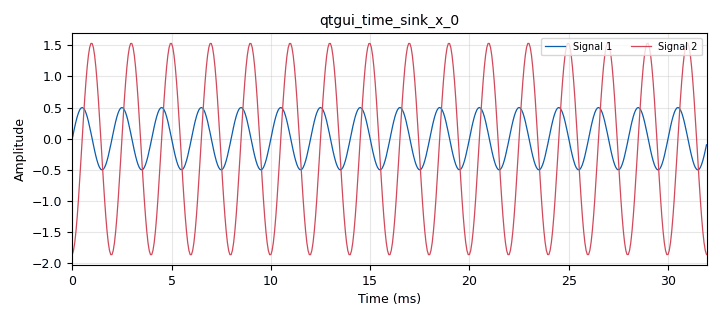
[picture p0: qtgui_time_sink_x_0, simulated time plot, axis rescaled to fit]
options:
  parameters:
    author: com2_B1_G8
    generate_options: qt_gui
    id: aplicacionacumstats
    output_language: python
    title: Not titled yet
  states: {}

blocks:
- name: A
  id: variable_qtgui_range
  parameters:
    label: Amplitud señal
    start: '0'
    step: '1e-2'
    stop: '500e-3'
    value: '500e-3'
  states: {}
- name: 'No'
  id: variable_qtgui_range
  parameters:
    label: Amplitud ruido
    start: '0'
    step: '1e-3'
    stop: '1e-1'
    value: '1e-4'
  states: {}
- name: fm
  id: variable_qtgui_range
  parameters:
    label: Frecuencia señal
    start: '100'
    step: '1'
    stop: 1e3
    value: '1000'
  states: {}
- name: samp_rate
  id: variable
  parameters:
    value: '32000'
  states: {}
- name: analog_const_source_x_0
  id: analog_const_source_x
  parameters:
    const: '1.5'
    type: float
  states: {}
- name: analog_noise_source_x_0
  id: analog_noise_source_x
  parameters:
    amp: 'No'
    noise_type: analog.GR_GAUSSIAN
    seed: '0'
    type: float
  states: {}
- name: analog_sig_source_x_0
  id: analog_sig_source_x
  parameters:
    alias: analog_sig_source_x_0
    amp: A
    freq: fm
    offset: '0'
    phase: '0'
    samp_rate: samp_rate
    type: float
    waveform: analog.GR_SIN_WAVE
  states: {}
- name: blocks_add_xx_0
  id: blocks_add_xx
  parameters:
    type: float
  states: {}
- name: blocks_divide_xx_0
  id: blocks_divide_xx
  parameters:
    type: float
  states: {}
- name: blocks_throttle2_0
  id: blocks_throttle2
  parameters:
    samples_per_second: samp_rate
    type: float
  states: {}
- name: epy_block_1
  id: epy_block
  parameters:
    _source_code: |
      """
      Embedded Python Blocks:

      Each time this file is saved, GRC will instantiate the first class it finds
      to get ports and parameters of your block. The arguments to __init__  will
      be the parameters. All of them are required to have default values!
      """

      import numpy as np
      from gnuradio import gr


      class blk(gr.sync_block):

          def __init__(self):  # only default arguments here
              gr.sync_block.__init__(
                  self,
                  name='e_Acum',   # will show up in GRC
                  in_sig=[np.float32],
                  out_sig=[np.float32]
              )

          def work(self, input_items, output_items):
              
              x = input_items[0]
              y0 = output_items[0]
              
              y0[:] = np.cumsum(x)
              return len(y0)
  states: {}
- name: qtgui_time_sink_x_0
  id: qtgui_time_sink_x
  parameters:
    nconnections: '2'
    size: '512'
    srate: '16000'
    type: float
  states: {}

connections:
- [analog_const_source_x_0, '0', blocks_divide_xx_0, '1']
- [analog_noise_source_x_0, '0', blocks_add_xx_0, '1']
- [analog_sig_source_x_0, '0', blocks_throttle2_0, '0']
- [blocks_add_xx_0, '0', epy_block_1, '0']
- [blocks_add_xx_0, '0', qtgui_time_sink_x_0, '0']
- [blocks_divide_xx_0, '0', qtgui_time_sink_x_0, '1']
- [blocks_throttle2_0, '0', blocks_add_xx_0, '0']
- [epy_block_1, '0', blocks_divide_xx_0, '0']

metadata:
  file_format: 1
  grc_version: v3.10.11.0-89-ga17f69e7
